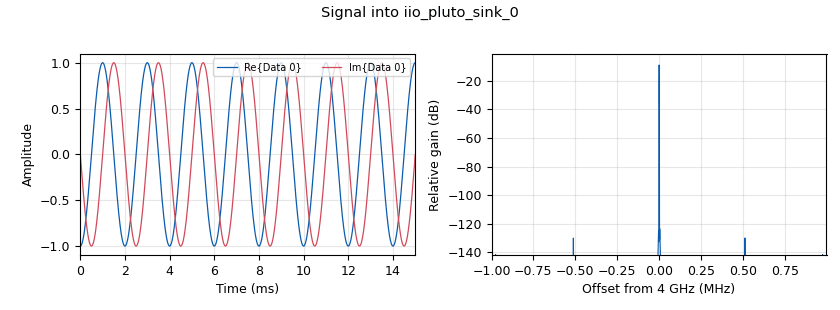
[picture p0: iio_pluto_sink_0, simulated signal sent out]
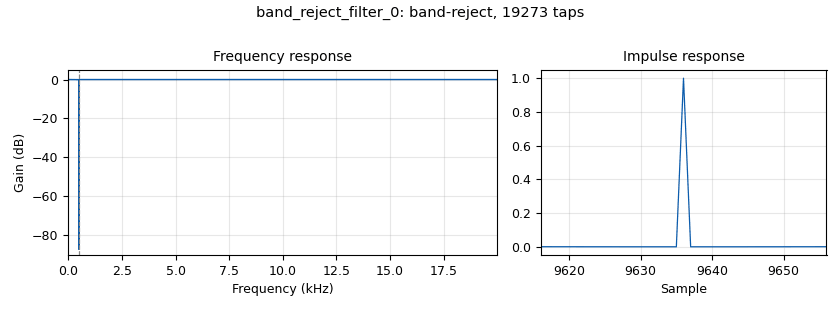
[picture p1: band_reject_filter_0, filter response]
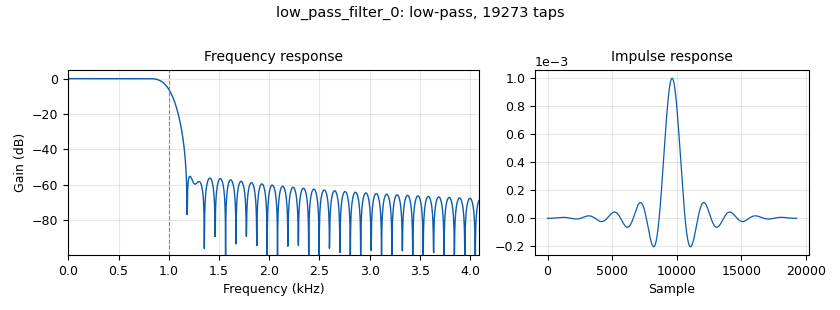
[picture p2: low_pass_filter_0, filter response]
options:
  parameters:
    generate_options: qt_gui
    id: top_block
    output_language: python
    title: PlutoCWradar
  states: {}

blocks:
- name: audio_gain
  id: variable_qtgui_range
  parameters:
    orient: Qt.Horizontal
    start: '0'
    step: '1'
    stop: '10'
    value: '1'
  states: {}
- name: buf_size
  id: variable
  parameters:
    value: '13768'
  states: {}
- name: lo_freq
  id: variable
  parameters:
    value: int(4e9)
  states: {}
- name: rx_gain
  id: variable_qtgui_range
  parameters:
    orient: Qt.Horizontal
    start: '0'
    step: '1'
    stop: '70'
    value: '64'
  states: {}
- name: samp_rate
  id: variable
  parameters:
    value: int(2e6)
  states: {}
- name: tone_freq
  id: variable_qtgui_range
  parameters:
    orient: Qt.Horizontal
    start: '-2e3'
    step: '1'
    stop: 2e3
    value: '500'
  states: {}
- name: tx_attenuation
  id: variable_qtgui_range
  parameters:
    orient: Qt.Horizontal
    start: '0'
    step: '1'
    stop: '100'
    value: '30'
  states: {}
- name: analog_sig_source_x_0
  id: analog_sig_source_x
  parameters:
    amp: '1'
    freq: tone_freq
    offset: '0'
    phase: '0'
    samp_rate: samp_rate
    type: complex
    waveform: analog.GR_COS_WAVE
  states: {}
- name: audio_sink_0
  id: audio_sink
  parameters:
    samp_rate: '48000'
  states: {}
- name: band_reject_filter_0
  id: band_reject_filter
  parameters:
    decim: '1'
    gain: '1'
    high_cutoff_freq: tone_freq+5
    low_cutoff_freq: tone_freq-5
    samp_rate: samp_rate/50
    type: fir_filter_ccf
    width: '5'
    win: firdes.WIN_HAMMING
  states: {}
- name: blocks_complex_to_real_0
  id: blocks_complex_to_real
  parameters: {}
  states: {}
- name: blocks_multiply_const_vxx_0
  id: blocks_multiply_const_vxx
  parameters:
    const: audio_gain
    type: complex
  states: {}
- name: iio_pluto_sink_0
  id: iio_pluto_sink
  parameters:
    attenuation1: tx_attenuation
    auto_filter: 'True'
    bandwidth: '20000000'
    buffer_size: buf_size
    cyclic: 'False'
    frequency: lo_freq
    samplerate: samp_rate
    uri: 192.168.2.1
  states: {}
- name: iio_pluto_source_1
  id: iio_pluto_source
  parameters:
    auto_filter: 'True'
    bandwidth: '20000000'
    bbdc: 'True'
    buffer_size: buf_size
    frequency: lo_freq
    gain1: '''manual'''
    manual_gain1: rx_gain
    quadrature: 'True'
    rfdc: 'True'
    samplerate: samp_rate
    uri: 192.168.2.1
  states: {}
- name: low_pass_filter_0
  id: low_pass_filter
  parameters:
    cutoff_freq: tone_freq*2
    decim: int(samp_rate/40000)
    gain: '1'
    samp_rate: samp_rate
    type: fir_filter_ccf
    width: '250'
    win: firdes.WIN_HAMMING
  states: {}
- name: qtgui_freq_sink_x_0
  id: qtgui_freq_sink_x
  parameters:
    bw: samp_rate
    fc: '0'
    fftsize: 1024*8
    label1: RX
    showports: 'True'
    type: complex
    wintype: firdes.WIN_BLACKMAN_hARRIS
  states: {state: disabled}
- name: qtgui_freq_sink_x_1
  id: qtgui_freq_sink_x
  parameters:
    bw: samp_rate/50
    fc: '0'
    fftsize: 1024*8
    label1: LPF
    showports: 'True'
    type: complex
    wintype: firdes.WIN_BLACKMAN_hARRIS
  states: {state: disabled}
- name: qtgui_freq_sink_x_2
  id: qtgui_freq_sink_x
  parameters:
    bw: samp_rate/50
    fc: '0'
    fftsize: 1024*8
    label1: BRF
    showports: 'True'
    type: complex
    wintype: firdes.WIN_BLACKMAN_hARRIS
  states: {}
- name: qtgui_time_sink_x_0
  id: qtgui_time_sink_x
  parameters:
    label1: TX re
    label2: TX im
    size: 1024*8
    srate: samp_rate
    type: complex
  states: {state: disabled}
- name: qtgui_time_sink_x_1
  id: qtgui_time_sink_x
  parameters:
    label1: RX re
    label2: RX im
    size: 1024*8
    srate: samp_rate
    type: complex
  states: {state: disabled}
- name: qtgui_time_sink_x_2
  id: qtgui_time_sink_x
  parameters:
    label1: LPF re
    label2: LPF im
    size: '1024'
    srate: samp_rate/50
    type: complex
  states: {state: disabled}
- name: qtgui_time_sink_x_3
  id: qtgui_time_sink_x
  parameters:
    label1: BRF re
    label2: BRF im
    size: '1024'
    srate: samp_rate/50
    type: complex
  states: {state: disabled}
- name: qtgui_waterfall_sink_x_0
  id: qtgui_waterfall_sink_x
  parameters:
    bw: samp_rate/50
    fc: '0'
    fftsize: 1024*8
    showports: 'True'
    type: complex
    wintype: firdes.WIN_HAMMING
  states: {}

connections:
- [analog_sig_source_x_0, '0', iio_pluto_sink_0, '0']
- [analog_sig_source_x_0, '0', qtgui_time_sink_x_0, '0']
- [band_reject_filter_0, '0', blocks_multiply_const_vxx_0, '0']
- [blocks_complex_to_real_0, '0', audio_sink_0, '0']
- [blocks_multiply_const_vxx_0, '0', blocks_complex_to_real_0, '0']
- [blocks_multiply_const_vxx_0, '0', qtgui_freq_sink_x_2, '0']
- [blocks_multiply_const_vxx_0, '0', qtgui_time_sink_x_3, '0']
- [blocks_multiply_const_vxx_0, '0', qtgui_waterfall_sink_x_0, '0']
- [iio_pluto_source_1, '0', low_pass_filter_0, '0']
- [iio_pluto_source_1, '0', qtgui_freq_sink_x_0, '0']
- [iio_pluto_source_1, '0', qtgui_time_sink_x_1, '0']
- [low_pass_filter_0, '0', band_reject_filter_0, '0']
- [low_pass_filter_0, '0', qtgui_freq_sink_x_1, '0']
- [low_pass_filter_0, '0', qtgui_time_sink_x_2, '0']

metadata:
  file_format: 1
